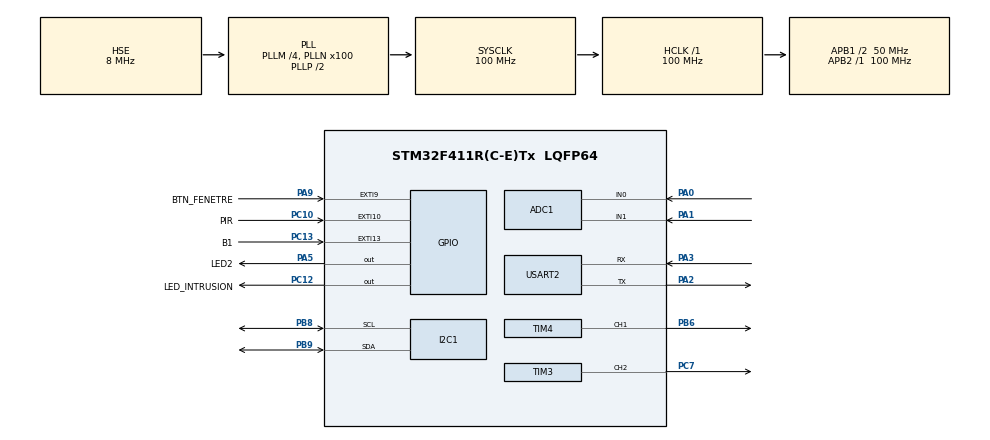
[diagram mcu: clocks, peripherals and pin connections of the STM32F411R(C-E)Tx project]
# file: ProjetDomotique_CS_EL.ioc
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ADC1.Channel-0\#ChannelRegularConversion=ADC_CHANNEL_0
ADC1.NbrOfConversion=1
ADC1.NbrOfConversionFlag=1
ADC1.Rank-0\#ChannelRegularConversion=1
ADC1.SamplingTime-0\#ChannelRegularConversion=ADC_SAMPLETIME_480CYCLES
ADC1.master=1
Mcu.Family=STM32F4
Mcu.Name=STM32F411R(C-E)Tx
Mcu.Package=LQFP64
NVIC.EXTI15_10_IRQn=true\:0\:0\:false\:false\:true\:true\:true\:true
NVIC.EXTI9_5_IRQn=true\:0\:0\:false\:false\:true\:true\:true\:true
NVIC.PriorityGroup=NVIC_PRIORITYGROUP_4
NVIC.TIM2_IRQn=true\:0\:0\:false\:false\:true\:true\:true\:true
PA0-WKUP.Signal=ADCx_IN0
PA1.Signal=ADCx_IN1
PA13.Mode=Serial_Wire
PA13.Signal=SYS_JTMS-SWDIO
PA14.Mode=Serial_Wire
PA14.Signal=SYS_JTCK-SWCLK
PA2.Mode=Asynchronous
PA2.Signal=USART2_TX
PA3.Mode=Asynchronous
PA3.Signal=USART2_RX
PA5.GPIO_Label=LED2
PA5.Signal=GPIO_Output
PA9.GPIO_Label=BTN_FENETRE
PA9.GPIO_ModeDefaultEXTI=GPIO_MODE_IT_FALLING
PA9.GPIO_PuPd=GPIO_PULLUP
PA9.Signal=GPXTI9
PB6.Signal=S_TIM4_CH1
PB8.GPIO_Pu=GPIO_PULLUP
PB8.Mode=I2C
PB8.Signal=I2C1_SCL
PB9.GPIO_Pu=GPIO_PULLUP
PB9.Mode=I2C
PB9.Signal=I2C1_SDA
PC10.GPIO_Label=PIR
PC10.GPIO_ModeDefaultEXTI=GPIO_MODE_IT_RISING
PC10.GPIO_PuPd=GPIO_PULLDOWN
PC10.Signal=GPXTI10
PC12.GPIO_Label=LED_INTRUSION
PC12.Signal=GPIO_Output
PC13-ANTI_TAMP.GPIO_Label=B1
PC13-ANTI_TAMP.GPIO_ModeDefaultEXTI=GPIO_MODE_IT_FALLING
PC13-ANTI_TAMP.GPIO_PuPd=GPIO_NOPULL
PC13-ANTI_TAMP.Signal=GPXTI13
PC7.Signal=S_TIM3_CH2
PH0\ -\ OSC_IN.Mode=HSE-External-Oscillator
PH0\ -\ OSC_IN.Signal=RCC_OSC_IN
PH1\ -\ OSC_OUT.Mode=HSE-External-Oscillator
PH1\ -\ OSC_OUT.Signal=RCC_OSC_OUT
ProjectManager.HeapSize=0x200
ProjectManager.StackSize=0x400
ProjectManager.TargetToolchain=STM32CubeIDE
RCC.48MHZClocksFreq_Value=50000000
RCC.AHBFreq_Value=100000000
RCC.APB1CLKDivider=RCC_HCLK_DIV2
RCC.APB1Freq_Value=50000000
RCC.APB1TimFreq_Value=100000000
RCC.APB2Freq_Value=100000000
RCC.APB2TimFreq_Value=100000000
RCC.CortexFreq_Value=100000000
RCC.HCLKFreq_Value=100000000
RCC.HSE_VALUE=8000000
RCC.HSI_VALUE=16000000
RCC.LSE_VALUE=32768
RCC.PLLM=4
RCC.PLLN=100
RCC.PLLSourceVirtual=RCC_PLLSOURCE_HSE
RCC.SYSCLKFreq_VALUE=100000000
RCC.SYSCLKSource=RCC_SYSCLKSOURCE_PLLCLK
RCC.VCOOutputFreq_Value=200000000
SH.ADCx_IN0.0=ADC1_IN0,IN0
SH.ADCx_IN1.0=ADC1_IN1,IN1
SH.S_TIM3_CH2.0=TIM3_CH2,PWM Generation2 CH2
SH.S_TIM4_CH1.0=TIM4_CH1,PWM Generation1 CH1
TIM2.Period=19999
TIM2.Prescaler=9999
TIM3.AutoReloadPreload=TIM_AUTORELOAD_PRELOAD_ENABLE
TIM3.Channel-PWM\ Generation2\ CH2=TIM_CHANNEL_2
TIM3.Period=499
TIM3.Prescaler=99
TIM3.Pulse-PWM\ Generation2\ CH2=250
TIM4.AutoReloadPreload=TIM_AUTORELOAD_PRELOAD_ENABLE
TIM4.Channel-PWM\ Generation1\ CH1=TIM_CHANNEL_1
TIM4.Period=19999
TIM4.Prescaler=99
TIM4.Pulse-PWM\ Generation1\ CH1=1500
USART2.VirtualMode=VM_ASYNC
VP_TIM2_VS_ClockSourceINT.Mode=Internal
VP_TIM3_VS_ClockSourceINT.Mode=Internal
VP_TIM4_VS_ClockSourceINT.Mode=Internal
board=custom

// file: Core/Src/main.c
/* USER CODE BEGIN Header */
/**
  ******************************************************************************
  * @file           : main.c
  * @brief          : Smart Home - Nucleo-F411RE
  ******************************************************************************
  *
  * Horloge : HSE 8 MHz -> PLL (M=4, N=100, P=2) -> SYSCLK 100 MHz
  *           APB1 = 50 MHz (timers APB1 a 100 MHz), APB2 = 100 MHz
  *
  * Brochage :
  *   PA5  LD2            sortie, bascule a chaque tick de TIM2
  *   PC13 B1             EXTI13, front descendant (pull-up sur la carte)
  *   PC10 PIR            EXTI10, front montant, pull-down
  *   PA9  bouton fenetre EXTI9, front descendant, pull-up
  *   PC12 LED alarme     sortie push-pull (une seule LED dans le kit)
  *   PC7  buzzer         TIM3_CH2, PWM 2 kHz
  *   PB6  servo          TIM4_CH1, PWM 50 Hz
  *   PA0  MQ-2           ADC1 canal 0
  *   PA1  pluie          ADC1 canal 1
  *   PB8/PB9 TMP102      I2C1 (SCL/SDA), 100 kHz, adresse 0x48
  *   PA2/PA3 UART        USART2 vers le ST-LINK, 115200 8N1
  *
  * Principe : les interruptions ne font que lever des drapeaux, tout le
  * traitement se fait dans la boucle principale. TIM2 cadence les mesures
  * toutes les 2 s.
  *
  ******************************************************************************
  */
/* USER CODE END Header */
#include "main.h"
#include "adc.h"
#include "i2c.h"
#include "tim.h"
#include "usart.h"
#include "gpio.h"

/* USER CODE BEGIN Includes */
#include <string.h>
#include <stdio.h>
#include "tmp102.h"     // driver du capteur de temperature
/* USER CODE END Includes */

/* USER CODE BEGIN PTD */
typedef enum {
	MODE_HOME = 0,      // maison occupee
	MODE_AWAY = 1       // maison vide : intrusion surveillee, fenetre fermee
} SystemMode_t;
/* USER CODE END PTD */

/* USER CODE BEGIN PD */
#define anti_rebond_ms  			200U    // on ignore les fronts pendant 200 ms apres un appui
#define PERIODE_CLIGNOTEMENT_MS     250U    // LED d'alarme : 250 ms allumee / 250 ms eteinte

/* Seuils gaz (valeurs ADC 0..4095), fixes a partir de nos mesures :
   air ~1100-1600, vapeurs de gel ~3200 */
#define GAZ_SEUIL_HAUT        		2500U   // declenchement de l'alarme
#define GAZ_SEUIL_BAS         		2000U   // fin d'alarme (hysteresis)
#define GAZ_NB_CONFIRMATION   		2U      // mesures consecutives pour changer d'etat
#define GAZ_SEUIL_DEFAUT      		200U    // en dessous : capteur debranche ou faux contact

/* Largeurs d'impulsion du servo (en us), trouvees en caracterisant la fenetre */
#define SERVO_CLOSED_US   			600U
#define SERVO_OPEN_US     			1750U

/* Seuils pluie : sec ~150, mouille = 4095 */
#define PLUIE_SEUIL_HAUT        	2000U
#define PLUIE_SEUIL_BAS         	1000U
#define PLUIE_NB_CONFIRMATION   	2U
/* USER CODE END PD */

/* USER CODE BEGIN PV */
/* volatile = variable modifiee dans une interruption et lue dans la boucle */

/* Mode HOME / AWAY (bouton B1) */
volatile SystemMode_t g_mode = MODE_HOME;   // HOME au demarrage
volatile uint32_t g_nb_appuis = 0;          // compteur de test (anti-rebond)
static uint32_t g_dernier_appui_ms = 0;     // heure du dernier appui accepte
volatile uint8_t g_mode_event = 0;          // drapeau : le mode vient de changer

/* Intrusion (PIR) */
volatile uint32_t g_nb_pir = 0;             // compteur de test
volatile uint8_t g_pir_event = 0;           // drapeau : mouvement detecte
uint8_t g_alarme_intrusion = 0;

/* LED d'alarme */
static uint32_t g_dernier_clignotement_ms = 0;

/* Acquisition periodique */
volatile uint8_t g_acq_event = 0;           // drapeau leve par TIM2 toutes les 2 s

/* Gaz */
uint16_t g_gaz_brut = 0;                    // derniere mesure ADC
uint8_t g_alarme_gaz = 0;
static uint8_t g_gaz_compteur = 0;          // mesures consecutives qui confirment un changement

/* Fenetre */
static uint8_t g_fenetre_ouverte = 0;       // position reelle du servo
volatile uint8_t g_fenetre_event = 0;       // drapeau : appui sur le bouton fenetre
static uint32_t g_dernier_appui_fenetre_ms = 0;
uint8_t g_fenetre_demande = 0;              // ce que veut l'utilisateur (0 fermer, 1 ouvrir)

/* Pluie */
uint16_t g_pluie_brut = 0;
uint8_t g_pluie = 0;
static uint8_t g_pluie_compteur = 0;

/* Temperature */
uint8_t g_tmp102_ok = 0;                    // capteur detecte au demarrage
int32_t g_temp_centi = 0;                   // en centiemes de degre (2506 = 25,06 C)
uint8_t g_temp_valide = 0;                  // au moins une mesure lue
/* USER CODE END PV */

void SystemClock_Config(void);
/* USER CODE BEGIN PFP */
static void uart_print(const char *msg);
static void maj_buzzer(void);
static void fenetre_commander(uint8_t ouvrir);
static uint16_t adc_lire(uint32_t canal);
static void temp_texte(char *buf, size_t taille, int32_t centi);
/* USER CODE END PFP */

int main(void)
{

  /* MCU Configuration--------------------------------------------------------*/

  /* Reset of all peripherals, Initializes the Flash interface and the Systick. */
  HAL_Init();

  /* Configure the system clock */
  SystemClock_Config();

  /* Initialize all configured peripherals */
  MX_GPIO_Init();
  MX_TIM2_Init();
  MX_USART2_UART_Init();
  MX_TIM3_Init();
  MX_ADC1_Init();
	  MX_TIM4_Init();
	  MX_I2C1_Init();
  /* USER CODE BEGIN 2 */

  /* base de temps : interruption toutes les 2 s (PSC 9999, ARR 19999) */
  HAL_TIM_Base_Start_IT(&htim2);
  uart_print("\r\n=== Smart Home : demarrage en mode HOME ===\r\n");

  /* servo : on fixe la position fermee avant de lancer le PWM,
     pour que la premiere impulsion soit deja la bonne */
  __HAL_TIM_SET_COMPARE(&htim4, TIM_CHANNEL_1, SERVO_CLOSED_US);
  HAL_TIM_PWM_Start(&htim4, TIM_CHANNEL_1);

  /* TMP102 : verifie qu'il repond puis le passe en mode one-shot */
  g_tmp102_ok = (tmp102_init() == HAL_OK);
  uart_print(g_tmp102_ok ? "[TMP102] Capteur detecte et configure (one-shot)\r\n"
                         : "[TMP102] ERREUR : capteur absent ou non configure\r\n");

  /* USER CODE END 2 */

  /* Infinite loop */
  while (1)
  {

    /* USER CODE BEGIN 3 */

	  /* ---- Bouton MODE : HOME <-> AWAY ---- */
	  if (g_mode_event)
	  {
	      g_mode_event = 0;
	      if (g_mode == MODE_AWAY)
	      {
	          uart_print("[MODE] AWAY - surveillance activee\r\n");
	      }
	      else
	      {
	          uart_print("[MODE] HOME\r\n");
	          /* l'occupant est rentre : on desarme l'intrusion.
	             l'alarme gaz, elle, n'est pas touchee */
	          if (g_alarme_intrusion)
	          {
	              g_alarme_intrusion = 0;
	              uart_print("[ALARME] Intrusion arretee\r\n");
	          }
	      }
	  }

	  /* ---- PIR : un mouvement n'est une intrusion qu'en AWAY ---- */
	  if (g_pir_event)
	  {
	      g_pir_event = 0;
	      if (g_mode == MODE_AWAY)
	      {
	          if (!g_alarme_intrusion)      // on ne declenche qu'une fois
	          {
	              g_alarme_intrusion = 1;
	              uart_print("[ALARME] INTRUSION DETECTEE !\r\n");
	          }
	      }
	      else
	      {
	          uart_print("[PIR] Mouvement detecte (mode HOME, normal)\r\n");
	      }
	  }

	  /* ---- Bouton fenetre : change seulement la demande de l'utilisateur.
	          La position reelle est decidee plus bas (pluie et AWAY prioritaires) ---- */
	  if (g_fenetre_event)
	  {
	      g_fenetre_event = 0;
	      g_fenetre_demande = !g_fenetre_demande;
	      uart_print(g_fenetre_demande ? "[FENETRE] Demande d'ouverture\r\n"
	                                   : "[FENETRE] Demande de fermeture\r\n");
	  }

	  /* ---- Toutes les 2 s : mesures, decisions, supervision ---- */
	  if (g_acq_event)
	  {
	      g_acq_event = 0;

	      /* a) Mesures. Un seul ADC : on lit les deux canaux l'un apres l'autre */
	      g_gaz_brut   = adc_lire(ADC_CHANNEL_0);     // PA0 : MQ-2
	      g_pluie_brut = adc_lire(ADC_CHANNEL_1);     // PA1 : capteur de pluie

	      /* Temperature : la conversion du TMP102 dure 15 ms max (datasheet 5.5),
	         on attend 20 ms. Bloquant mais court (1 % du temps) et hors interruption */
	      if (g_tmp102_ok)
	      {
	          int16_t brut;
	          tmp102_declencher_mesure();
	          HAL_Delay(20);
	          if (tmp102_lire_brut(&brut) == HAL_OK)
	          {
	              g_temp_centi  = tmp102_convertir_centi(brut);
	              g_temp_valide = 1;
	          }
	          else
	          {
	              uart_print("[TMP102] Erreur de lecture I2C\r\n");
	          }
	      }

	      /* b) Gaz : hysteresis (2500 / 2000) + 2 mesures de confirmation.
	         Ne depend pas du mode : la securite gaz est toujours active */
	      if (g_gaz_brut < GAZ_SEUIL_DEFAUT)
	      {
	          /* valeur impossible pour un capteur qui marche : on le signale
	             sans couper une alarme eventuellement en cours */
	          g_gaz_compteur = 0;
	          uart_print("[GAZ] DEFAUT capteur (valeur anormalement basse)\r\n");
	      }
	      else if (!g_alarme_gaz)
	      {
	          if (g_gaz_brut > GAZ_SEUIL_HAUT)
	          {
	              g_gaz_compteur++;
	              if (g_gaz_compteur >= GAZ_NB_CONFIRMATION)
	              {
	                  g_alarme_gaz = 1;
	                  g_gaz_compteur = 0;
	                  uart_print("[ALARME] GAS ALERT !\r\n");
	              }
	          }
	          else
	          {
	              g_gaz_compteur = 0;               // serie interrompue
	          }
	      }
	      else
	      {
	          if (g_gaz_brut < GAZ_SEUIL_BAS)
	          {
	              g_gaz_compteur++;
	              if (g_gaz_compteur >= GAZ_NB_CONFIRMATION)
	              {
	                  g_alarme_gaz = 0;
	                  g_gaz_compteur = 0;
	                  uart_print("[GAZ] Fin d'alerte : air revenu a la normale\r\n");
	              }
	          }
	          else
	          {
	              g_gaz_compteur = 0;
	          }
	      }

	      /* b') Pluie : meme principe que le gaz */
	      if (!g_pluie)
	      {
	          if (g_pluie_brut > PLUIE_SEUIL_HAUT)
	          {
	              g_pluie_compteur++;
	              if (g_pluie_compteur >= PLUIE_NB_CONFIRMATION)
	              {
	                  g_pluie = 1;
	                  g_pluie_compteur = 0;
	                  uart_print("[PLUIE] Pluie detectee\r\n");
	              }
	          }
	          else
	          {
	              g_pluie_compteur = 0;
	          }
	      }
	      else
	      {
	          if (g_pluie_brut < PLUIE_SEUIL_BAS)
	          {
	              g_pluie_compteur++;
	              if (g_pluie_compteur >= PLUIE_NB_CONFIRMATION)
	              {
	                  g_pluie = 0;
	                  g_pluie_compteur = 0;
	                  uart_print("[PLUIE] Fin de pluie\r\n");
	              }
	          }
	          else
	          {
	              g_pluie_compteur = 0;
	          }
	      }

	      /* c) Supervision : ligne d'etat envoyee apres les decisions,
	         pour afficher l'etat a jour */
	      char temp[12] = "N/A";
	      if (g_temp_valide)
	          temp_texte(temp, sizeof(temp), g_temp_centi);

	      char msg[160];
	      snprintf(msg, sizeof(msg),
	               "[ETAT] mode=%s | temp=%s C | gaz=%u | alarme_gaz=%s | intrusion=%s | pluie=%u (%s) | fenetre=%s\r\n",
	               (g_mode == MODE_HOME) ? "HOME" : "AWAY",
	               temp,
	               (unsigned int)g_gaz_brut,
	               g_alarme_gaz ? "ON" : "OFF",
	               g_alarme_intrusion ? "ON" : "OFF",
	               (unsigned int)g_pluie_brut,
	               g_pluie ? "OUI" : "NON",
	               g_fenetre_ouverte ? "OPEN" : "CLOSED");
	      uart_print(msg);
	  }

	  /* ---- Sorties, mises a jour a chaque tour ---- */

	  /* LED d'alarme : clignote si au moins une alarme est active.
	     On compare l'heure au lieu d'attendre, pour ne pas bloquer la boucle */
	  if (g_alarme_intrusion || g_alarme_gaz)
	  {
	      uint32_t maintenant = HAL_GetTick();
	      if ((maintenant - g_dernier_clignotement_ms) >= PERIODE_CLIGNOTEMENT_MS)
	      {
	          g_dernier_clignotement_ms = maintenant;
	          HAL_GPIO_TogglePin(LED_INTRUSION_GPIO_Port, LED_INTRUSION_Pin);
	      }
	  }
	  else
	  {
	      /* eteinte d'office, sinon elle peut rester allumee a la fin de l'alarme */
	      HAL_GPIO_WritePin(LED_INTRUSION_GPIO_Port, LED_INTRUSION_Pin, GPIO_PIN_RESET);
	  }

	  maj_buzzer();

	  /* Fenetre ouverte seulement si l'utilisateur le demande, qu'il ne pleut pas
	     et qu'on est en HOME. Recalcule a chaque tour, le servo ne bouge
	     que si le resultat change */
	  uint8_t fenetre_voulue = g_fenetre_demande && !g_pluie && (g_mode == MODE_HOME);
	  fenetre_commander(fenetre_voulue);
  }
  /* USER CODE END 3 */
}

void SystemClock_Config(void)
{
  RCC_OscInitTypeDef RCC_OscInitStruct = {0};
  RCC_ClkInitTypeDef RCC_ClkInitStruct = {0};

  /** Configure the main internal regulator output voltage
  */
  __HAL_RCC_PWR_CLK_ENABLE();
  __HAL_PWR_VOLTAGESCALING_CONFIG(PWR_REGULATOR_VOLTAGE_SCALE1);

  /** Initializes the RCC Oscillators according to the specified parameters
  * in the RCC_OscInitTypeDef structure.
  */
  RCC_OscInitStruct.OscillatorType = RCC_OSCILLATORTYPE_HSE;
  RCC_OscInitStruct.HSEState = RCC_HSE_ON;
  RCC_OscInitStruct.PLL.PLLState = RCC_PLL_ON;
  RCC_OscInitStruct.PLL.PLLSource = RCC_PLLSOURCE_HSE;
  RCC_OscInitStruct.PLL.PLLM = 4;
  RCC_OscInitStruct.PLL.PLLN = 100;
  RCC_OscInitStruct.PLL.PLLP = RCC_PLLP_DIV2;
  RCC_OscInitStruct.PLL.PLLQ = 4;
  if (HAL_RCC_OscConfig(&RCC_OscInitStruct) != HAL_OK)
  {
    Error_Handler();
  }

  /** Initializes the CPU, AHB and APB buses clocks
  */
  RCC_ClkInitStruct.ClockType = RCC_CLOCKTYPE_HCLK|RCC_CLOCKTYPE_SYSCLK
                              |RCC_CLOCKTYPE_PCLK1|RCC_CLOCKTYPE_PCLK2;
  RCC_ClkInitStruct.SYSCLKSource = RCC_SYSCLKSOURCE_PLLCLK;
  RCC_ClkInitStruct.AHBCLKDivider = RCC_SYSCLK_DIV1;
  RCC_ClkInitStruct.APB1CLKDivider = RCC_HCLK_DIV2;
  RCC_ClkInitStruct.APB2CLKDivider = RCC_HCLK_DIV1;

  if (HAL_RCC_ClockConfig(&RCC_ClkInitStruct, FLASH_LATENCY_3) != HAL_OK)
  {
    Error_Handler();
  }
}

/* USER CODE BEGIN 4 */

/* Envoie un texte sur l'UART (port COM virtuel du ST-LINK).
   Bloquant (~87 us par caractere a 115200) : a n'appeler que depuis la boucle */
static void uart_print(const char *msg)
{
    HAL_UART_Transmit(&huart2, (uint8_t *)msg, strlen(msg), 100);
}

/* Appelee par le HAL a chaque debordement d'un timer.
   Seul TIM2 est en interruption : toutes les 2 s on demande une acquisition */
void HAL_TIM_PeriodElapsedCallback(TIM_HandleTypeDef *htim)
{
    if (htim->Instance == TIM2)
    {
        HAL_GPIO_TogglePin(LED2_GPIO_Port, LED2_Pin);   // temoin de la base de temps
        g_acq_event = 1;
    }
}

/* Appelee pour toutes les lignes EXTI. GPIO_Pin indique quelle broche a declenche.
   On reste court : un drapeau, rien d'autre */
void HAL_GPIO_EXTI_Callback(uint16_t GPIO_Pin)
{
    if (GPIO_Pin == B1_Pin)
    {
        /* anti-rebond : on regarde l'heure au lieu d'attendre
           (pas de HAL_Delay dans une interruption) */
        uint32_t maintenant = HAL_GetTick();

        if ((maintenant - g_dernier_appui_ms) >= anti_rebond_ms)
        {
            g_dernier_appui_ms = maintenant;
            g_nb_appuis++;
            g_mode = (g_mode == MODE_HOME) ? MODE_AWAY : MODE_HOME;
            g_mode_event = 1;
        }
    }
    else if (GPIO_Pin == PIR_Pin)
    {
        /* sortie electronique, pas de rebond */
        g_nb_pir++;
        g_pir_event = 1;
    }
    else if (GPIO_Pin == BTN_FENETRE_Pin)
    {
        uint32_t maintenant = HAL_GetTick();
        if ((maintenant - g_dernier_appui_fenetre_ms) >= anti_rebond_ms)
        {
            g_dernier_appui_fenetre_ms = maintenant;
            g_fenetre_event = 1;
        }
    }
}

/* Buzzer commun aux deux alarmes.
   On compare ce qu'on veut a ce qui est, et on n'agit qu'au changement :
   le HAL refuse un Start sur un canal deja demarre */
static void maj_buzzer(void)
{
    static uint8_t buzzer_actif = 0;     // garde sa valeur d'un appel a l'autre
    uint8_t buzzer_voulu = (g_alarme_intrusion || g_alarme_gaz);

    if (buzzer_voulu && !buzzer_actif)
    {
        HAL_TIM_PWM_Start(&htim3, TIM_CHANNEL_2);    // PWM 2 kHz sur PC7
        buzzer_actif = 1;
    }
    else if (!buzzer_voulu && buzzer_actif)
    {
        HAL_TIM_PWM_Stop(&htim3, TIM_CHANNEL_2);
        buzzer_actif = 0;
    }
}

/* Place la fenetre dans la position demandee.
   Le PWM du servo tourne en permanence, on change juste la largeur
   d'impulsion (CCR1). Prise en compte a la periode suivante (preload) */
static void fenetre_commander(uint8_t ouvrir)
{
    if (ouvrir == g_fenetre_ouverte)
        return;                          // deja dans la bonne position

    g_fenetre_ouverte = ouvrir;
    __HAL_TIM_SET_COMPARE(&htim4, TIM_CHANNEL_1, ouvrir ? SERVO_OPEN_US : SERVO_CLOSED_US);
    uart_print(ouvrir ? "[FENETRE] WINDOW OPEN\r\n" : "[FENETRE] WINDOW CLOSED\r\n");
}

/* Lit un canal de l'ADC1 (conversion unique, polling).
   On choisit d'abord le canal (le multiplexeur ne relie qu'une entree a la fois),
   puis start / attente de fin (~20 us) / lecture / stop.
   Renvoie 0 si la conversion n'aboutit pas, ce qui sera vu comme un defaut */
static uint16_t adc_lire(uint32_t canal)
{
    ADC_ChannelConfTypeDef sConfig = {0};
    sConfig.Channel      = canal;
    sConfig.Rank         = 1;
    sConfig.SamplingTime = ADC_SAMPLETIME_480CYCLES;   // sortie des capteurs a forte impedance
    HAL_ADC_ConfigChannel(&hadc1, &sConfig);

    uint16_t valeur = 0;
    HAL_ADC_Start(&hadc1);
    if (HAL_ADC_PollForConversion(&hadc1, 10) == HAL_OK)
    {
        valeur = (uint16_t)HAL_ADC_GetValue(&hadc1);
    }
    HAL_ADC_Stop(&hadc1);
    return valeur;
}

/* Ecrit une temperature en centiemes sous la forme "25.06" ou "-3.50".
   On reste en entiers car printf de nano.specs n'affiche pas les float */
static void temp_texte(char *buf, size_t taille, int32_t centi)
{
    int32_t absolu = (centi < 0) ? -centi : centi;
    snprintf(buf, taille, "%s%ld.%02ld", (centi < 0) ? "-" : "",
             (long)(absolu / 100), (long)(absolu % 100));
}
/* USER CODE END 4 */

void Error_Handler(void)
{
  __disable_irq();
  while (1)
  {
  }
}
